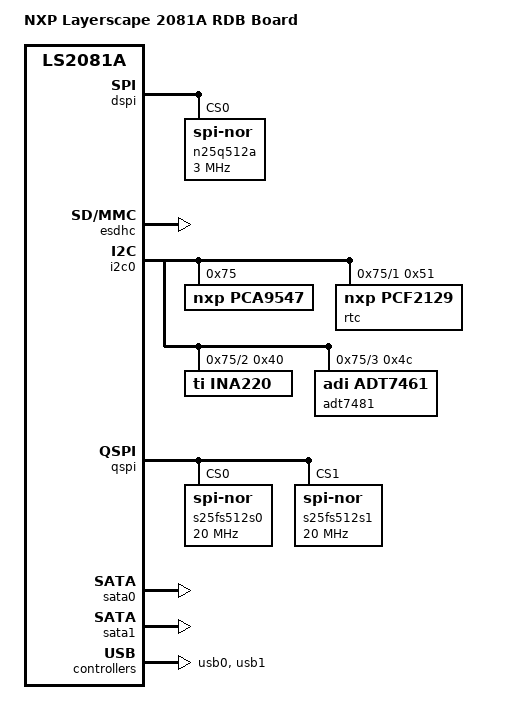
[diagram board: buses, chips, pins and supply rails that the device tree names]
// SPDX-License-Identifier: (GPL-2.0+ OR MIT)
/*
 * Device Tree file for NXP LS2081A RDB Board.
 *
 * Copyright 2017 NXP
 *
 * Priyanka Jain <priyanka.jain@nxp.com>
 *
 */

/dts-v1/;

#include "fsl-ls2088a.dtsi"

/ {
	model = "NXP Layerscape 2081A RDB Board";
	compatible = "fsl,ls2081a-rdb", "fsl,ls2081a";

	aliases {
		serial0 = &serial0;
		serial1 = &serial1;
	};

	chosen {
		stdout-path = "serial1:115200n8";
	};
};

&dspi {
	status = "okay";

	n25q512a: flash@0 {
		compatible = "jedec,spi-nor";
		#address-cells = <1>;
		#size-cells = <1>;
		spi-max-frequency = <3000000>;
		reg = <0>;
	};
};

&esdhc {
	status = "okay";
};

&i2c0 {
	status = "okay";

	pca9547: mux@75 {
		compatible = "nxp,pca9547";
		reg = <0x75>;
		#address-cells = <1>;
		#size-cells = <0>;

		i2c@1 {
			#address-cells = <1>;
			#size-cells = <0>;
			reg = <0x1>;

			rtc@51 {
				compatible = "nxp,pcf2129";
				reg = <0x51>;
			};
		};

		i2c@2 {
			#address-cells = <1>;
			#size-cells = <0>;
			reg = <0x2>;

			ina220@40 {
				compatible = "ti,ina220";
				reg = <0x40>;
				shunt-resistor = <500>;
			};
		};

		i2c@3 {
			#address-cells = <1>;
			#size-cells = <0>;
			reg = <0x3>;

			adt7481@4c {
				compatible = "adi,adt7461";
				reg = <0x4c>;
			};
		};
	};
};

&ifc {
	status = "disabled";
};

&qspi {
	status = "okay";

	s25fs512s0: flash@0 {
		compatible = "jedec,spi-nor";
		#address-cells = <1>;
		#size-cells = <1>;
		spi-rx-bus-width = <4>;
		spi-tx-bus-width = <4>;
		spi-max-frequency = <20000000>;
		reg = <0>;
	};

	s25fs512s1: flash@1 {
		compatible = "jedec,spi-nor";
		#address-cells = <1>;
		#size-cells = <1>;
		spi-rx-bus-width = <4>;
		spi-tx-bus-width = <4>;
		spi-max-frequency = <20000000>;
		reg = <1>;
	};
};

&sata0 {
	status = "okay";
};

&sata1 {
	status = "okay";
};

&usb0 {
	status = "okay";
};

&usb1 {
	status = "okay";
};
